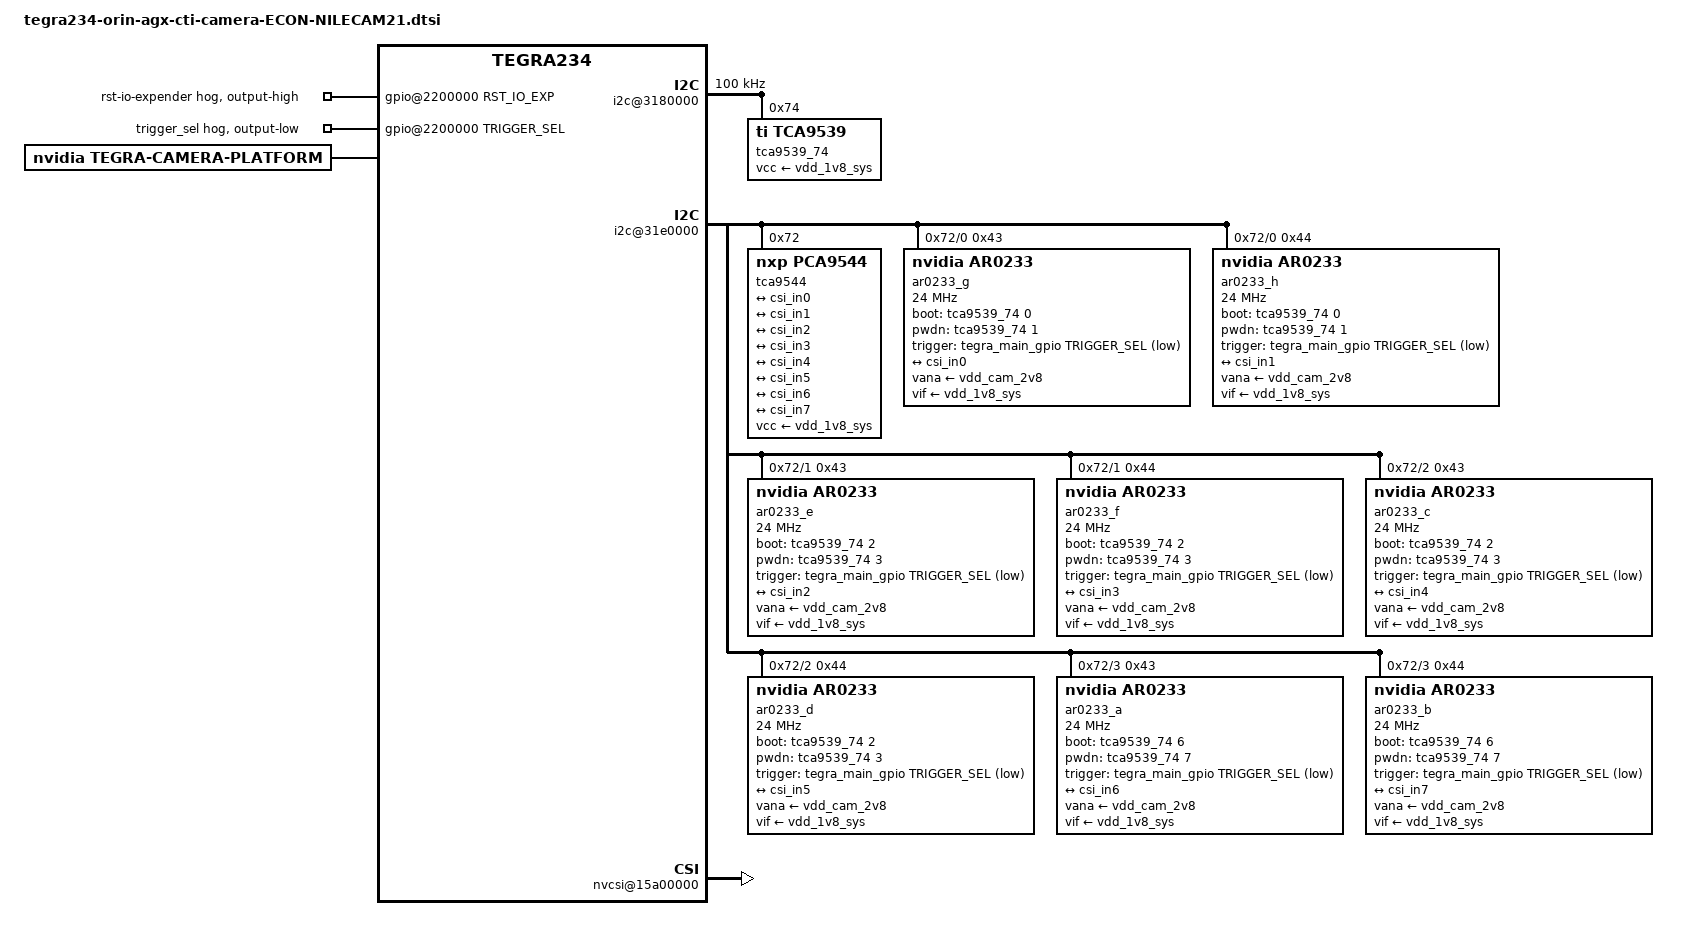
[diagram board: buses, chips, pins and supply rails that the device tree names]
/*
 * Copyright (c) 2022, Connect Tech Inc.  All rights reserved.
 *
 * This program is free software; you can redistribute it and/or modify it
 * under the terms and conditions of the GNU General Public License,
 * version 2, as published by the Free Software Foundation.
 *
 * This program is distributed in the hope it will be useful, but WITHOUT
 * ANY WARRANTY; without even the implied warranty of MERCHANTABILITY or
 * FITNESS FOR A PARTICULAR PURPOSE.  See the GNU General Public License for
 * more details.
 *
 * You should have received a copy of the GNU General Public License
 * along with this program.  If not, see <http://www.gnu.org/licenses/>.
 */

#include "tegra234-orin-agx-cti-csi.dtsi"
#include "tegra234-orin-agx-cti-ECON-HEXCUXVR.dtsi"
#include "dt-bindings/clock/tegra234-clock.h"


#define RST_IO_EXP TEGRA234_MAIN_GPIO(AC,1)
#define PWM_CALIB_GPIO TEGRA234_MAIN_GPIO(H,7) //CAM0_PWDN
#define TRIGGER_SEL TEGRA234_MAIN_GPIO(I,0) //CAM0_RST

#define CAM_LANES 2
#define CAM_LANES_STRING "2"


/ {

	gpio@2200000 {
		camera-control-output-high {
			status = "okay";
			gpio-hog;
			gpios = <RST_IO_EXP 0>;
			output-high;
			label = "rst-io-expender"; 
		};
		camera-control-output-low {
			status = "okay";
			gpio-hog;
			gpios = <TRIGGER_SEL 0>;
			output-low;
			label = "trigger_sel";
		};
	};

	i2c@3180000 {
		clock-frequency = <100000>;
		tca9539_74: tca9539@74 {
			compatible = "ti,tca9539";
			gpio-controller;
			#gpio-cells = <2>;
			reg = <0x74>;
			vcc-supply = <&vdd_1v8_sys>;
			status = "okay";
			
			tca9539_74_outlow {
				status = "okay";
				gpio-hog;
				gpios = <0 0 1 0 2 0 3 0 4 0 5 0 6 0 7 0 8 0 9 0 10 0 11 0 12 0 13 0>;
				output-low;
				label = "RST_A","PWDN_A","RST_B","PWDN_B","RST_C","PWDN_C","RST_D","PWDN_D";
			};
			tca9539_74_outhigh {
				status = "disabled";
			};
			tca9539_74_input {
				status = "disabled";
			};
		};
	};

    i2c@31e0000 {
	status = "okay";
	#address-cells = <1>;
	#size-cells = <0>;
        tca9544@72 {
	    status = "okay";
	    compatible = "nxp,pca9544";
	    reg = <0x72>;
	    #address-cells = <1>;
	    #size-cells = <0>;
	    vcc-supply = <&vdd_1v8_sys>;
	    skip_mux_detect;
	    force_bus_start = <0x28>;
            i2c@0 {
                status = "okay";
		reg = <0>;
		i2c-mux,deselect-on-exit;
		#address-cells = <1>;
		#size-cells = <0>;
		ar0233_g@43 {
			status = "okay";
			compatible = "nvidia,ar0233";
			reg = <0x43>;
			sensor_model = "ar0233";
			avdd-reg = "vana";
			iovdd-reg = "vif";
			clocks = <&bpmp_clks TEGRA234_CLK_EXTPERIPH1>,<&bpmp_clks TEGRA234_CLK_EXTPERIPH1>;
			clock-names = "extperiph1","pllp_grtba";
			mclk = "extperiph1";
			clock-frequency = <24000000>;
			boot-gpios = <&tca9539_74 0 GPIO_ACTIVE_HIGH>;
			pwdn-gpios = <&tca9539_74 1 GPIO_ACTIVE_HIGH>;
			
			trigger-gpios = <&tegra_main_gpio TRIGGER_SEL GPIO_ACTIVE_LOW>;
			default-trigger = "internal";
			vana-supply = <&vdd_cam_2v8>;
			vif-supply = <&vdd_1v8_sys>;
			devnode = "video0";
			
			use_sensor_mode_id = "false";
			camera_mipi_lanes = <2>;
			camera-mipi-clk = <1200>;
			sio-port = "A";
			/*pwm-invert = <1>;
			pwm-duty_ns = <0x1CBC720>;
			pwm-period_ns = <0x2037FE7>;
			pwm-calib-gpio = <&tegra_main_gpio PWM_CALIB_GPIO GPIO_ACTIVE_HIGH>;
			pwm-name = "ecam-trigger";*/

#define LOCAL_VC_ID "1"
#define TEGRA_SINTERFACE "serial_g"
#include "nilecam21_cuxvr_mode.dtsi"


			ports {
				#address-cells = <1>;
				#size-cells = <0>;
				
				port@0 {
					reg = <0>;
					cam_out0: endpoint {
						status = "okay";
						vc-id = <1>;
						port-index = <6>;
						bus-width = <4>;
						remote-endpoint = <&csi_in0>;
					};
				};
			};	
		};     
		ar0233_h@44 {
			status = "okay";
			compatible = "nvidia,ar0233";
			reg = <0x44>;
			sensor_model = "ar0233";
			avdd-reg = "vana";
			iovdd-reg = "vif";
			clocks = <&bpmp_clks TEGRA234_CLK_EXTPERIPH1>,<&bpmp_clks TEGRA234_CLK_EXTPERIPH1>;
			clock-names = "extperiph1","pllp_grtba";
			mclk = "extperiph1";
			clock-frequency = <24000000>;
			boot-gpios = <&tca9539_74 0 GPIO_ACTIVE_HIGH>;
			pwdn-gpios = <&tca9539_74 1 GPIO_ACTIVE_HIGH>;
			
			trigger-gpios = <&tegra_main_gpio TRIGGER_SEL GPIO_ACTIVE_LOW>;
			default-trigger = "internal";
			vana-supply = <&vdd_cam_2v8>;
			vif-supply = <&vdd_1v8_sys>;
			devnode = "video1";
			
			use_sensor_mode_id = "false";
			camera_mipi_lanes = <2>;
			camera-mipi-clk = <1200>;
			sio-port = "B";
			/*pwm-invert = <1>;
			pwm-duty_ns = <0x1CBC720>;
			pwm-period_ns = <0x2037FE7>;
			pwm-calib-gpio = <&tegra_main_gpio PWM_CALIB_GPIO GPIO_ACTIVE_HIGH>;
			pwm-name = "ecam-trigger";*/
#undef TEGRA_SINTERFACE
#define TEGRA_SINTERFACE "serial_g"
#undef LOCAL_VC_ID
#define LOCAL_VC_ID "0"
#include "nilecam21_cuxvr_mode.dtsi"

			ports {
				#address-cells = <1>;
				#size-cells = <0>;
				port@0 {
					reg = <0>;
					cam_out1: endpoint {
						vc-id = <0>;
						port-index = <6>;
						bus-width = <4>;
						remote-endpoint = <&csi_in1>;
					};
				};
			};	
		};           
            };

	    i2c@1 {
		status = "okay";
		reg = <1>;
		i2c-mux,deselect-on-exit;
		#address-cells = <1>;
		#size-cells = <0>;
		ar0233_e@43 {
			status = "okay";
			compatible = "nvidia,ar0233";
			reg = <0x43>;
			sensor_model = "ar0233";
			avdd-reg = "vana";
			iovdd-reg = "vif";
			clocks = <&bpmp_clks TEGRA234_CLK_EXTPERIPH1>,<&bpmp_clks TEGRA234_CLK_EXTPERIPH1>;
			clock-names = "extperiph1","pllp_grtba";
			mclk = "extperiph1";
			clock-frequency = <24000000>;
			boot-gpios = <&tca9539_74 2 GPIO_ACTIVE_HIGH>;
			pwdn-gpios = <&tca9539_74 3 GPIO_ACTIVE_HIGH>;
			trigger-gpios = <&tegra_main_gpio TRIGGER_SEL GPIO_ACTIVE_LOW>;
			default-trigger = "internal";
			vana-supply = <&vdd_cam_2v8>;
			vif-supply = <&vdd_1v8_sys>;
			devnode = "video4";
			use_sensor_mode_id = "false";
			camera_mipi_lanes = <2>;
			camera-mipi-clk = <1200>;
			sio-port = "A";
#undef LOCAL_VC_ID 
#define LOCAL_VC_ID "1"
#undef TEGRA_SINTERFACE
#define TEGRA_SINTERFACE "serial_e"
#include "nilecam21_cuxvr_mode.dtsi"
			ports {
				#address-cells = <1>;
				#size-cells = <0>;
				port@0 {
					reg = <0>;
					cam_out2: endpoint {
						status = "okay";
						vc-id = <1>;
						port-index = <4>;
						bus-width = <4>;
						remote-endpoint = <&csi_in2>;
					};	
				};
			};
		};
		ar0233_f@44 {
			status = "okay";
			compatible = "nvidia,ar0233";
			reg = <0x44>;
			sensor_mode = "ar0233";
			avdd-reg = "vana";
			iovdd-reg = "vif";
			clocks = <&bpmp_clks TEGRA234_CLK_EXTPERIPH1>,<&bpmp_clks TEGRA234_CLK_EXTPERIPH1>;
			clock-names = "extperiph1","pllp_grtba";
			mclk = "extperiph1";
			clock-frequency = <24000000>;
			boot-gpios = <&tca9539_74 2 GPIO_ACTIVE_HIGH>;
			pwdn-gpios = <&tca9539_74 3 GPIO_ACTIVE_HIGH>;
			trigger-gpios = <&tegra_main_gpio TRIGGER_SEL GPIO_ACTIVE_LOW>;
			default-trigger = "internal";
			vana-supply = <&vdd_cam_2v8>;
			vif-supply = <&vdd_1v8_sys>;
			devnode = "video5";
			use_sensor_mode_id = "false";
			camera_mipi_lanes = <2>;
			camera-mipi-clk = <1200>;
			sio-port = "B";
#undef LOCAL_VC_ID 
#define LOCAL_VC_ID "0"
#undef TEGRA_SINTERFACE
#define TEGRA_SINTERFACE "serial_e"
#include "nilecam21_cuxvr_mode.dtsi"
			ports {
				#address-cells = <1>;
				#size-cells = <0>;
				port@0 {
					reg = <0>;
					cam_out3: endpoint {
						status = "okay";
						vc-id = <0>;
						port-index = <4>;
						bus-width = <4>;
						remote-endpoint = <&csi_in3>;
					};
				};
			};
		};	 
	    };


            i2c@2 {
                status = "okay";
                reg = <2>;
		i2c-mux,deselect-on-exit;
		#address-cells = <1>;
		#size-cells = <0>;
		ar0233_c@43 {
			status = "okay";
			compatible = "nvidia,ar0233";
			reg = <0x43>;
			sensor_model = "ar0233";
			avdd-reg = "vana";
			iovdd-reg = "vif";
			clocks = <&bpmp_clks TEGRA234_CLK_EXTPERIPH1>,<&bpmp_clks TEGRA234_CLK_EXTPERIPH1>;
			clock-names = "extperiph1","pllp_grtba";
			mclk = "extperiph1";
			clock-frequency = <24000000>;
			boot-gpios = <&tca9539_74 2 GPIO_ACTIVE_HIGH>;
			pwdn-gpios = <&tca9539_74 3 GPIO_ACTIVE_HIGH>;
			trigger-gpios = <&tegra_main_gpio TRIGGER_SEL GPIO_ACTIVE_LOW>;
			default-trigger = "internal";
			vana-supply = <&vdd_cam_2v8>;
			vif-supply = <&vdd_1v8_sys>;
			devnode = "video4";
			use_sensor_mode_id = "false";
			camera_mipi_lanes = <2>;
			camera-mipi-clk = <1200>;
			sio-port = "A";
#undef LOCAL_VC_ID 
#define LOCAL_VC_ID "1"
#undef TEGRA_SINTERFACE
#define TEGRA_SINTERFACE "serial_c"
#include "nilecam21_cuxvr_mode.dtsi"
			ports {
				#address-cells = <1>;
				#size-cells = <0>;
				port@0 {
					reg = <0>;
					cam_out4: endpoint {
						status = "okay";
						vc-id = <1>;
						port-index = <2>;
						bus-width = <4>;
						remote-endpoint = <&csi_in4>;
					};	
				};
			};
		};
		ar0233_d@44 {
			status = "okay";
			compatible = "nvidia,ar0233";
			reg = <0x44>;
			sensor_mode = "ar0233";
			avdd-reg = "vana";
			iovdd-reg = "vif";
			clocks = <&bpmp_clks TEGRA234_CLK_EXTPERIPH1>,<&bpmp_clks TEGRA234_CLK_EXTPERIPH1>;
			clock-names = "extperiph1","pllp_grtba";
			mclk = "extperiph1";
			clock-frequency = <24000000>;
			boot-gpios = <&tca9539_74 2 GPIO_ACTIVE_HIGH>;
			pwdn-gpios = <&tca9539_74 3 GPIO_ACTIVE_HIGH>;
			trigger-gpios = <&tegra_main_gpio TRIGGER_SEL GPIO_ACTIVE_LOW>;
			default-trigger = "internal";
			vana-supply = <&vdd_cam_2v8>;
			vif-supply = <&vdd_1v8_sys>;
			devnode = "video5";
			use_sensor_mode_id = "false";
			camera_mipi_lanes = <2>;
			camera-mipi-clk = <1200>;
			sio-port = "B";
#undef LOCAL_VC_ID 
#define LOCAL_VC_ID "0"
#undef TEGRA_SINTERFACE
#define TEGRA_SINTERFACE "serial_c"
#include "nilecam21_cuxvr_mode.dtsi"
			ports {
				#address-cells = <1>;
				#size-cells = <0>;
				port@0 {
					reg = <0>;
					cam_out5: endpoint {
						status = "okay";
						vc-id = <0>;
						port-index = <2>;
						bus-width = <4>;
						remote-endpoint = <&csi_in5>;
					};
				};
			};
		};
            };
                
            i2c@3 {
                status = "okay";
		reg = <3>;
		i2c-mux,deselect-on-exit;
		#address-cells = <1>;
		#size-cells = <0>;
		ar0233_a@43 {
			status = "okay";
			compatible = "nvidia,ar0233";
			reg = <0x43>;
			sensor_model = "ar0233";
			avdd-reg = "vana";
			iovdd-reg = "vif";
			clocks = <&bpmp_clks TEGRA234_CLK_EXTPERIPH1>,<&bpmp_clks TEGRA234_CLK_EXTPERIPH1>;
			clock-names = "extperiph1","pllp_grtba";
			mclk = "extperiph1";
			clock-frequency = <24000000>;
			boot-gpios = <&tca9539_74 6 GPIO_ACTIVE_HIGH>;
			pwdn-gpios = <&tca9539_74 7 GPIO_ACTIVE_HIGH>;
			trigger-gpios = <&tegra_main_gpio TRIGGER_SEL GPIO_ACTIVE_LOW>;
			default-trigger = "internal";
			vana-supply = <&vdd_cam_2v8>;
			vif-supply = <&vdd_1v8_sys>;
			devnode = "video6";
			
			use_sensor_mode_id = "false";
			camera_mipi_lanes = <2>;
			camera-mipi-clk = <1200>;
			sio-port = "A";
			/*pwm-invert = <1>;
			pwm-duty_ns = <0x1CBC720>;
			pwm-period_ns = <0x2037FE7>;
			pwm-calib-gpio = <&tegra_main_gpio PWM_CALIB_GPIO GPIO_ACTIVE_HIGH>;
			pwm-name = "ecam-trigger";*/
#undef LOCAL_VC_ID
#define LOCAL_VC_ID "1"
#undef TEGRA_SINTERFACE 
#define TEGRA_SINTERFACE "serial_a"
#include "nilecam21_cuxvr_mode.dtsi"


			ports {
				#address-cells = <1>;
				#size-cells = <0>;
				
				port@0 {
					reg = <0>;
					cam_out6: endpoint {
						status = "okay";
						vc-id = <1>;
						port-index = <0>;
						bus-width = <4>;
						remote-endpoint = <&csi_in6>;
					};
				};
			};	
		};     
		ar0233_b@44 {
			status = "okay";
			compatible = "nvidia,ar0233";
			reg = <0x44>;
			sensor_model = "ar0233";
			avdd-reg = "vana";
			iovdd-reg = "vif";
			clocks = <&bpmp_clks TEGRA234_CLK_EXTPERIPH1>,<&bpmp_clks TEGRA234_CLK_EXTPERIPH1>;
			clock-names = "extperiph1","pllp_grtba";
			mclk = "extperiph1";
			clock-frequency = <24000000>;
			boot-gpios = <&tca9539_74 6 GPIO_ACTIVE_HIGH>;
			pwdn-gpios = <&tca9539_74 7 GPIO_ACTIVE_HIGH>;
			
			trigger-gpios = <&tegra_main_gpio TRIGGER_SEL GPIO_ACTIVE_LOW>;
			default-trigger = "internal";
			vana-supply = <&vdd_cam_2v8>;
			vif-supply = <&vdd_1v8_sys>;
			devnode = "video7";
			
			use_sensor_mode_id = "false";
			camera_mipi_lanes = <2>;
			camera-mipi-clk = <1200>;
			sio-port = "B";
			/*pwm-invert = <1>;
			pwm-duty_ns = <0x1CBC720>;
			pwm-period_ns = <0x2037FE7>;
			pwm-calib-gpio = <&tegra_main_gpio PWM_CALIB_GPIO GPIO_ACTIVE_HIGH>;
			pwm-name = "ecam-trigger";*/
#undef TEGRA_SINTERFACE
#define TEGRA_SINTERFACE "serial_a"
#undef LOCAL_VC_ID
#define LOCAL_VC_ID "0"
#include "nilecam21_cuxvr_mode.dtsi"

			ports {
				#address-cells = <1>;
				#size-cells = <0>;
				port@0 {
					reg = <0>;
					cam_out7: endpoint {
						vc-id = <0>;
						port-index = <0>;
						bus-width = <4>;
						remote-endpoint = <&csi_in7>;
					};
				};
			};	
		};
            };
        };
    };

    tegra-capture-vi {
        status = "okay";
        num-channels = <8>;
        ports {
	    #address-cells = <1>;
	    #size-cells = <0>;
	    status = "okay";
            port@0 {
		reg = <0>;
                status = "okay";
                vi_in0: endpoint {
		    vc-id = <1>;
                    port-index = <5>;
                    status = "okay";
                    bus-width = <4>;
		    remote-endpoint = <&csi_out0>;
                };
            };
            port@1 {
                status = "okay";
		reg = <1>;
                vi_in1: endpoint {
		    vc-id = <0>;
                    port-index = <5>;
                    status = "okay";
                    bus-width = <4>;
		    remote-endpoint = <&csi_out1>;
                };
            };
	    port@2 {
		status = "okay";
		reg = <2>;
		vi_in2: endpoint {
			vc-id = <1>;
			port-index = <4>;
			bus-width = <4>;
			remote-endpoint = <&csi_out2>;
			status = "okay";
		};
	    };
	    port@3{
		status = "okay";
		reg = <3>;
		vi_in3: endpoint {
			vc-id = <0>;
			port-index = <4>;
			bus-width = <4>;
			remote-endpoint = <&csi_out3>;
			status = "okay";
		};
	    };
	    port@4 {
		status = "okay";
		reg = <4>;
		vi_in4: endpoint {
			vc-id = <1>;
			port-index = <2>;
			bus-width = <4>;
			remote-endpoint = <&csi_out4>;
			status = "okay";
		};
	    };
	    port@5 {
		status = "okay";
		reg = <5>;
		vi_in5: endpoint {
			vc-id = <0>;
			port-index = <2>;
			bus-width = <4>;
			remote-endpoint = <&csi_out5>;
			status = "okay";
		};
	    };
            port@6 {
                status = "okay";
		reg = <6>;
                vi_in6: endpoint {
                    port-index = <0>;
                    status = "okay";
                    bus-width = <4>;
		    vc-id = <1>;
		    remote-endpoint = <&csi_out6>;
                };
            };
            port@7 {
                status = "okay";
		reg = <7>;
                vi_in7: endpoint {
                    port-index = <0>;
                    status = "okay";
                    bus-width = <4>;
		    vc-id = <0>;
		    remote-endpoint = <&csi_out7>;
                };
            };
        };
    };

    host1x@13e00000 {
        nvcsi@15a00000 {
	    num-channels = <8>;
	    #address-cells = <1>;
	    #size-cells = <0>;
            status = "okay";
            channel@0 {
                status = "okay";
		reg = <0>;
                ports {
		    #address-cells = <1>;
		    #size-cells = <0>;
                    port@0 {
                        status = "okay";
			reg = <0>;
                        csi_in0: endpoint@0 {
                            status = "okay";
                            port-index = <6>;
			    bus-width = <4>;
                            remote-endpoint = <&cam_out0>;
                        };
                    };
                    port@1 {
                        status = "okay";
			reg = <1>;
                        csi_out0: endpoint@1 {
                            status = "okay";
			    port-index = <6>;
			    bus-width = <4>;
			    remote-endpoint = <&vi_in0>;
                        };
                    };
                };
            };
            channel@1 {
                status = "okay";
		reg = <1>;
                ports {
		    #address-cells = <1>;
		    #size-cells = <0>;
                    
		    port@0 {
			reg = <0>;
                        status = "okay";
                        csi_in1: endpoint@2 {
                            status = "okay";
			    port-index = <6>;
                            bus-width = <4>;
                            remote-endpoint = <&cam_out1>;
                        };
                    };
                    port@1 {
                        status = "okay";
			reg = <1>;
                        csi_out1: endpoint@3 {
                            status = "okay";
			    port-index = <6>;
			    bus-width = <4>;
			    remote-endpoint = <&vi_in1>;
                        };
                    };
                };
            };
	    channel@2 {
                status = "okay";
		reg = <2>;
                ports {
		    #address-cells = <1>;
		    #size-cells = <0>;
                    port@0 {
                        status = "okay";
			reg = <0>;
                        csi_in2: endpoint@4 {
                            status = "okay";
                            port-index = <4>;
			    bus-width = <4>;
                            remote-endpoint = <&cam_out2>;
                        };
                    };
                    port@1 {
                        status = "okay";
			reg = <1>;
                        csi_out2: endpoint@5 {
                            status = "okay";
			    port-index = <4>;
			    bus-width = <4>;
			    remote-endpoint = <&vi_in2>;
                        };
                    };
                };
            };
            channel@3 {
                status = "okay";
		reg = <3>;
                ports {
		    #address-cells = <1>;
		    #size-cells = <0>;
                    
		    port@0 {
			reg = <0>;
                        status = "okay";
                        csi_in3: endpoint@6 {
                            status = "okay";
			    port-index = <4>;
                            bus-width = <4>;
                            remote-endpoint = <&cam_out3>;
                        };
                    };
                    port@1 {
                        status = "okay";
			reg = <1>;
                        csi_out3: endpoint@7 {
                            status = "okay";
			    port-index = <4>;
			    bus-width = <4>;
			    remote-endpoint = <&vi_in3>;
                        };
                    };
                };
            };
	    channel@4 {
                status = "okay";
		reg = <4>;
                ports {
		    #address-cells = <1>;
		    #size-cells = <0>;
                    port@0 {
                        status = "okay";
			reg = <0>;
                        csi_in4: endpoint@8 {
                            status = "okay";
                            port-index = <2>;
			    bus-width = <4>;
                            remote-endpoint = <&cam_out4>;
                        };
                    };
                    port@1 {
                        status = "okay";
			reg = <1>;
                        csi_out4: endpoint@9 {
                            status = "okay";
			    port-index = <2>;
			    bus-width = <4>;
			    remote-endpoint = <&vi_in4>;
                        };
                    };
                };
            };
            channel@5 {
                status = "okay";
		reg = <5>;
                ports {
		    #address-cells = <1>;
		    #size-cells = <0>;
                    
		    port@0 {
			reg = <0>;
                        status = "okay";
                        csi_in5: endpoint@10 {
                            status = "okay";
			    port-index = <2>;
                            bus-width = <4>;
                            remote-endpoint = <&cam_out5>;
                        };
                    };
                    port@1 {
                        status = "okay";
			reg = <1>;
                        csi_out5: endpoint@11 {
                            status = "okay";
			    port-index = <2>;
			    bus-width = <4>;
			    remote-endpoint = <&vi_in5>;
                        };
                    };
                };
            };

            channel@6 {
                status = "okay";
		reg = <6>;
                ports {
		    #address-cells = <1>;
		    #size-cells = <0>;
                    port@0 {
			reg = <0>;
                        status = "okay";
                        csi_in6: endpoint@12 {
                            status = "okay";
                            bus-width = <4>;
			    port-index = <0>;
			    remote-endpoint = <&cam_out6>;
                            //remote-endpoint = <&cam_out2>;
                        };
                    };
                    port@1 {
                        status = "okay";
                        reg = <1>;
			csi_out6: endpoint@13 {
                            status = "okay";
			    remote-endpoint = <&vi_in6>;
                        };
                    };
                };
            };

            channel@7 {
                status = "okay";
		reg = <7>;
                ports {
		    #address-cells = <1>;
		    #size-cells = <0>;
                    port@0 {
			reg = <0>;
                        status = "okay";
                        csi_in7: endpoint@14 {
                            status = "okay";
                            bus-width = <4>;
			    port-index = <0>;
			    remote-endpoint = <&cam_out7>;
                        };
                    };
                    port@1 {
                        status = "okay";
			reg = <1>;
                        csi_out7: endpoint@15 {
                            status = "okay";
			    remote-endpoint = <&vi_in7>;
                        };
                    };
                };
            };
        };
    };


    tegra-camera-platform {
        num_csi_lanes = <16>;
        max_lane_speed = <2500000>;
        min_bits_per_pixel = <10>;
        vi_peak_byte_per_pixel = <2>;
        vi_bw_margin_pct = <25>;
	//max_pixel_rate = <750000>;
        isp_peak_byte_per_pixel = <5>;
        isp_bw_margin_pct = <25>;
	compatible = "nvidia, tegra-camera-platform";
	status = "okay";
        
	modules {
            module0 {
                status = "okay";
		badge = "ar0233_g";
		orientation = "1";
		position = "rear1"; 
                 drivernode0 {
                    status = "okay";
                    pcl_id = "v4l2_sensor";
                    devname = "ar0233_g 40-0043";
                    proc-device-tree = "/proc/device-tree/i2c@31e0000/tca9544@72/i2c@0/ar0233_g@43";
                };
            };
	    module1 {
                status = "okay";
		badge = "ar0233_h";
		orientation = "2";
		position = "rear2";
                drivernode0 {
                    status = "okay";
                    pcl_id = "v4l2_sensor";
                    devname = "ar0233_h 40-0044";
                    proc-device-tree = "/proc/device-tree/i2c@3180000/tca9544@72/i2c@0/ar0233_h@44";
                };
            };
            
	    module2 {
		status = "okay";
		badge = "ar0233_e";
		orientation = "1";
		position = "rear3";
		drivernode0 {
			status = "okay";
			pcl_id = "v4l2_sensor";
			devname = "ar0233_e 41-0043";
			proc-device-tree = "/proc/device-tree/i2c@3180000/tca9544@72/i2c@1/ar0233_e@43";
		};
	    };
	    module3 {
		status = "okay";
		badge = "ar0233_f";
		orientation = "1";
		position = "rear4";
		drivernode0 {
			status = "okay";
			pcl_id = "v4l2_sensor";
			devname = "ar0233_f 41-0044";
			proc-device-tree = "/proc/device-tree/i2c@3180000/tca9544@72/i2c@1/ar0233_f@44";
		};
	    };
            module4 {
                status = "okay";
                drivernode0 {
                    status = "okay";
                    pcl_id = "v4l2_sensor";
                    devname = "e-con_cam 44-0042";
                    proc-device-tree = "/proc/device-tree/i2c@3180000/tca9548@70/i2c@4/eimx485_e@42";
                };
            };
            module5 {
                status = "okay";
                drivernode0 {
                    status = "okay";
                    pcl_id = "v4l2_sensor";
                    devname = "e-con_cam 45-0042";
                    proc-device-tree = "/proc/device-tree/i2c@3180000/tca9548@70/i2c@5/eimx485_g@42";
                };
            };
        };
    };
};
